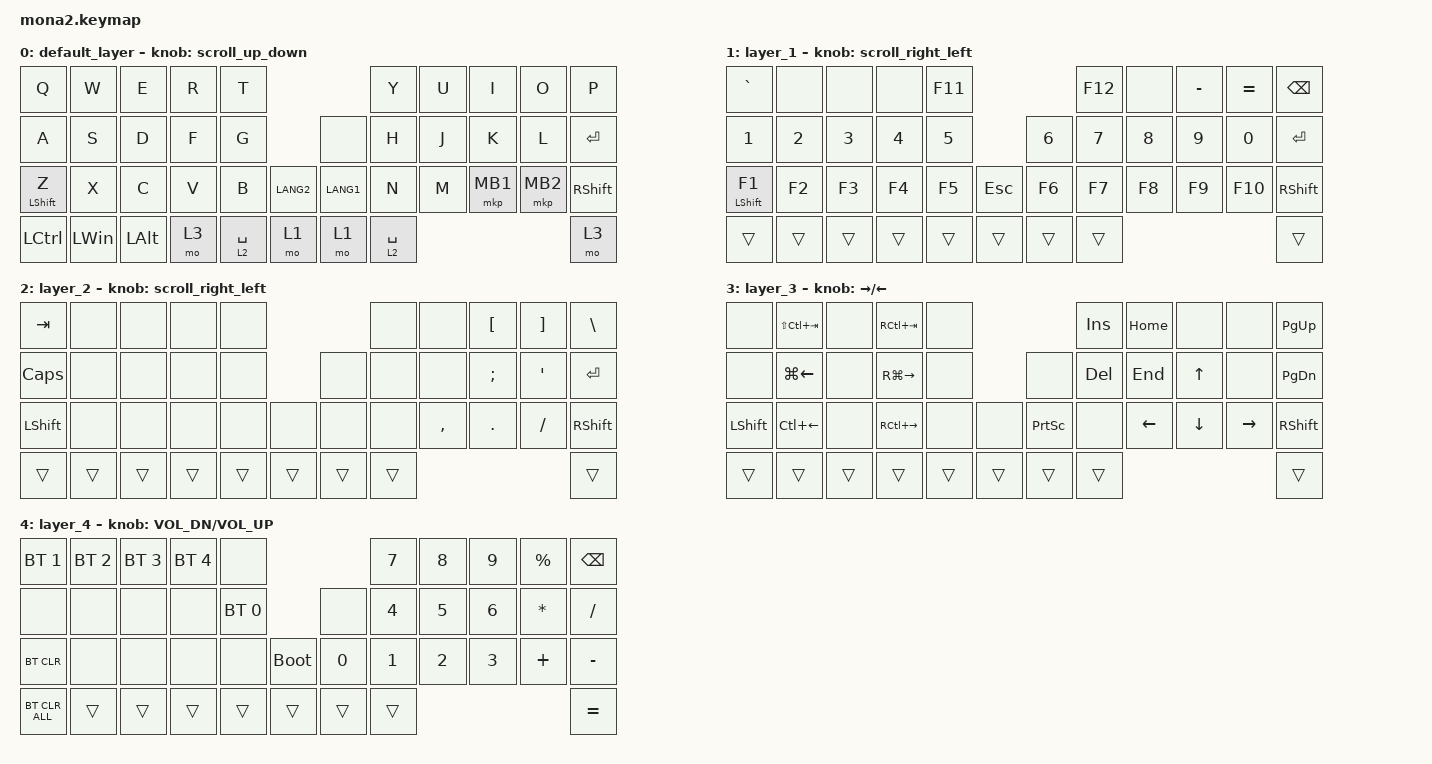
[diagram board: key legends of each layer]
#include <input/processors.dtsi>
#include <dt-bindings/zmk/input_transform.h>
#include <zephyr/dt-bindings/input/input-event-codes.h>
#include <behaviors.dtsi>
#include <dt-bindings/zmk/bt.h>
#include <dt-bindings/zmk/keys.h>
#include <dt-bindings/zmk/pointing.h>

#define ZMK_POINTING_DEFAULT_SCRL_VAL 100
#define MOUSE 5
#define SCROLL 6

&mt {
    flavor = "balanced";
    quick-tap-ms = <0>;
};

&lt {
    quick-tap-ms = <300>;
    flavor = "balanced";
};

/ {
    combos {
        compatible = "zmk,combos";

        layer4_L {
            bindings = <&mo 4>;
            key-positions = <37 38>;
        };

        layer4_R {
            bindings = <&mo 4>;
            key-positions = <39 40>;
        };

        mb3 {
            bindings = <&mkp MB3>;
            key-positions = <30 31>;
        };
    };

    macros {
        to_layer_0: to_layer_0 {
            compatible = "zmk,behavior-macro-one-param";
            #binding-cells = <1>;
            bindings = <&to 0 &macro_param_1to1 &kp MACRO_PLACEHOLDER>;
            label = "TO_LAYER_0";
        };
    };

    behaviors {
        lt_to_layer_0: lt_to_layer_0 {
            compatible = "zmk,behavior-hold-tap";
            label = "LAYER_TAP_TO_0";
            bindings = <&mo>, <&to_layer_0>;

            #binding-cells = <2>;
            tapping-term-ms = <200>;
        };

        scroll_up_down: mouse_wheel_up_down {
            compatible = "zmk,behavior-sensor-rotate";
            #sensor-binding-cells = <0>;
            bindings = <&msc SCRL_DOWN>, <&msc SCRL_UP>;

            tap-ms = <20>;
        };

        scroll_right_left: mouse_wheel_right_left {
            compatible = "zmk,behavior-sensor-rotate";
            #sensor-binding-cells = <0>;
            bindings = <&msc SCRL_LEFT>, <&msc SCRL_RIGHT>;

            tap-ms = <20>;
        };
    };

    keymap {
        compatible = "zmk,keymap";

        default_layer {
            bindings = <
&kp Q             &kp W         &kp E     &kp R  &kp T                                &kp Y        &kp U  &kp I     &kp O     &kp P
&kp A             &kp S         &kp D     &kp F  &kp G                     &none      &kp H        &kp J  &kp K     &kp L     &kp ENTER
&mt LEFT_SHIFT Z  &kp X         &kp C     &kp V  &kp B        &kp LANG2    &kp LANG1  &kp N        &kp M  &mkp MB1  &mkp MB2  &kp RSHFT
&kp LCTRL         &kp LEFT_WIN  &kp LALT  &mo 3  &lt 2 SPACE  &mo 1        &mo 1      &lt 2 SPACE                             &mo 3
            >;

            sensor-bindings = <&scroll_up_down>;
        };

        layer_1 {
            bindings = <
&kp GRAVE     &none   &none   &none   &kp F11                     &kp F12  &none   &kp MINUS  &kp EQUAL  &kp BSPC
&kp N1        &kp N2  &kp N3  &kp N4  &kp N5              &kp N6  &kp N7   &kp N8  &kp N9     &kp N0     &kp ENTER
&mt LSHFT F1  &kp F2  &kp F3  &kp F4  &kp F5   &kp ESC    &kp F6  &kp F7   &kp F8  &kp F9     &kp F10    &kp RSHFT
&trans        &trans  &trans  &trans  &trans   &trans     &trans  &trans                                 &trans
            >;

            sensor-bindings = <&scroll_right_left>;
        };

        layer_2 {
            bindings = <
&kp TAB    &none   &none   &none   &none                     &none   &none      &kp LBKT  &kp RBKT  &kp BSLH
&kp CAPS   &none   &none   &none   &none             &none   &none   &none      &kp SEMI  &kp APOS  &kp ENTER
&kp LSHFT  &none   &none   &none   &none   &none     &none   &none   &kp COMMA  &kp DOT   &kp FSLH  &kp RSHFT
&trans     &trans  &trans  &trans  &trans  &trans    &trans  &trans                                 &trans
            >;

            sensor-bindings = <&scroll_right_left>;
        };

        layer_3 {
            bindings = <
&none      &kp LS(LC(TAB))     &none   &kp RC(TAB)          &none                        &kp INS  &kp HOME        &none           &none            &kp PAGE_UP
&none      &kp LG(LEFT_ARROW)  &none   &kp RG(RIGHT_ARROW)  &none             &none      &kp DEL  &kp END         &kp UP_ARROW    &none            &kp PAGE_DOWN
&kp LSHFT  &kp LC(LEFT_ARROW)  &none   &kp RC(RIGHT_ARROW)  &none   &none     &kp PSCRN  &none    &kp LEFT_ARROW  &kp DOWN_ARROW  &kp RIGHT_ARROW  &kp RSHFT
&trans     &trans              &trans  &trans               &trans  &trans    &trans     &trans                                                    &trans
            >;

            sensor-bindings = <&inc_dec_kp RIGHT_ARROW LEFT_ARROW>;
        };

        layer_4 {
            bindings = <
&bt BT_SEL 1    &bt BT_SEL 2  &bt BT_SEL 3  &bt BT_SEL 4  &none                                &kp N7  &kp N8  &kp N9  &kp PERCENT   &kp BSPC
&none           &none         &none         &none         &bt BT_SEL 0                 &none   &kp N4  &kp N5  &kp N6  &kp ASTERISK  &kp SLASH
&bt BT_CLR      &none         &none         &none         &none         &bootloader    &kp N0  &kp N1  &kp N2  &kp N3  &kp PLUS      &kp MINUS
&bt BT_CLR_ALL  &trans        &trans        &trans        &trans        &trans         &trans  &trans                                &kp EQUAL
            >;

            sensor-bindings = <&inc_dec_kp C_VOL_DN C_VOL_UP>;
        };
    };
};
